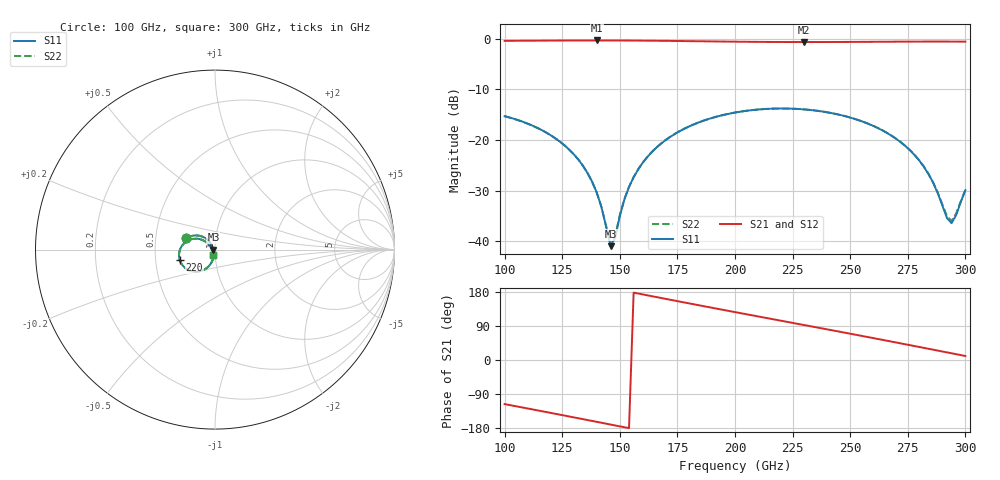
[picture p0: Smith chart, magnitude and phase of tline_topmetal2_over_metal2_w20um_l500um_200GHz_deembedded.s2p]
! Created with skrf 2.2.0 (http://scikit-rf.org).
# GHz S DB R 50.0
! Port[1] = P1
! Port[2] = P2
!freq dBS11 angS11 dBS21 angS21 dBS12 angS12 dBS22 angS22
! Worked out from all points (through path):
!   101 points, 100 GHz to 300 GHz, reference 50 ohm
!   highest |S21| = -0.34 dB at 140 GHz (marker M1); lowest = -0.7 dB at 230 GHz (marker M2)
!   group delay of S21, straight-line fit = 3.23 ps
!   lowest |S11| = -41.0 dB at 146 GHz (marker M3), VSWR 1.02, Z = 49.1 + j0.0461 ohm
!   |S11| at or under -10 dB: start of sweep to end of sweep
!   |S22| runs from -40.6 to -13.8 dB; largest |S21 - S12| = 1.6e-13
!   S11 on the Smith chart (normalised r, x): 100 GHz: 0.72, +0.09; 220 GHz: 0.67, -0.08; 300 GHz: 0.98, -0.06
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100  -15.29 158.6  -0.42 -116.4  -0.42 -116.4  -15.30 158.8
120  -19.05 137.0  -0.37 -139.6  -0.37 -139.6  -19.06 137.3
134  -25.07 125.1  -0.35 -156.1  -0.35 -156.1  -25.09 125.6
140  -30.39 125.7  -0.34 -163.2  -0.34 -163.2  -30.40 126.6
142  -33.19 130.0  -0.34 -165.6  -0.34 -165.6  -33.18 131.2
146  -40.96 177.0  -0.35 -170.3  -0.35 -170.3  -40.64 178.7
148  -39.26 -133.0  -0.35 -172.7  -0.35 -172.7  -38.95 -133.4
152  -31.74 -104.6  -0.36 -177.5  -0.36 -177.5  -31.64 -105.1
156  -27.36 -101.4  -0.37 177.8  -0.37 177.8  -27.31 -101.7
168  -20.67 -109.1  -0.41 163.6  -0.41 163.6  -20.66 -109.2
182  -16.94 -123.3  -0.49 147.2  -0.49 147.2  -16.93 -123.3
200  -14.58 -142.5  -0.58 126.4  -0.58 126.4  -14.57 -142.4
220  -13.78 -164.0  -0.65 103.6  -0.65 103.6  -13.77 -163.8
230  -13.96 -174.6  -0.66 92.3  -0.66 92.3  -13.95 -174.4
234  -14.13 -178.8  -0.66 87.7  -0.66 87.7  -14.13 -178.6
250  -15.57 164.4  -0.63 69.4  -0.63 69.4  -15.56 164.8
268  -19.16 147.0  -0.59 48.5  -0.59 48.5  -19.15 147.5
282  -25.30 139.3  -0.57 32.0  -0.57 32.0  -25.25 140.1
286  -28.44 142.1  -0.56 27.2  -0.56 27.2  -28.36 143.2
292  -35.40 174.1  -0.56 20.1  -0.56 20.1  -35.05 175.3
294  -36.42 -156.2  -0.57 17.7  -0.57 17.7  -35.99 -156.4
300  -29.91 -105.6  -0.58 10.6  -0.58 10.6  -29.82 -106.7
